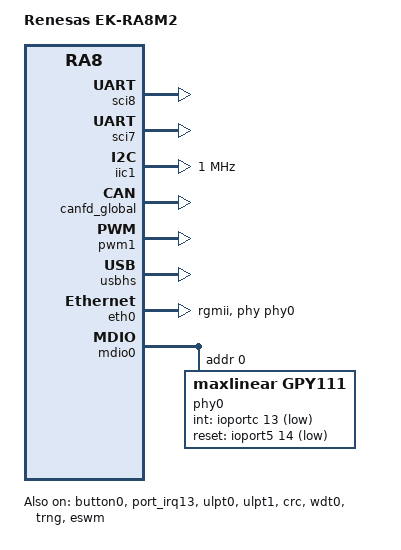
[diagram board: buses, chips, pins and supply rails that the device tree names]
/*
 * Copyright (c) 2025 Renesas Electronics Corporation
 * SPDX-License-Identifier: Apache-2.0
 */

/dts-v1/;

#include <renesas/ra/ra8/r7ka8m2jflcac_cm85.dtsi>
#include "ek_ra8m2.dtsi"

/ {
	model = "Renesas EK-RA8M2";
	compatible = "renesas,ra8m2", "renesas,ra8";

	chosen {
		zephyr,sram = &sram0;
		zephyr,flash = &code_mram_cm85;
		zephyr,flash-controller = &mram_ctrl;
		zephyr,code-partition = &slot0_partition;
		zephyr,console = &uart8;
		zephyr,shell-uart = &uart8;
		zephyr,canbus = &canfd1;
		zephyr,crc = &crc;
		zephyr,entropy = &trng;
	};

	aliases {
		led0 = &led1;
		sw0 = &button0;
		watchdog0 = &wdt0;
	};
};

&button0 {
	status = "okay";
};

&sci8 {
	pinctrl-0 = <&sci8_default>;
	pinctrl-names = "default";
	interrupts = <0 1>, <1 1>, <2 1>, <3 1>;
	interrupt-names = "rxi", "txi", "tei", "eri";
	status = "okay";

	uart8: uart {
		current-speed = <115200>;
		status = "okay";
	};
};

&sci7 {
	pinctrl-0 = <&sci7_default>;
	pinctrl-names = "default";
	interrupts = <4 1>, <5 1>, <6 1>, <7 1>;
	interrupt-names = "rxi", "txi", "tei", "eri";
	status = "okay";

	uart7: uart {
		current-speed = <115200>;
	};
};

&spi1 {
	pinctrl-0 = <&spi1_default>;
	pinctrl-names = "default";
	interrupts = <8 1>, <9 1>, <10 1>, <11 1>;
	interrupt-names = "rxi", "txi", "tei", "eri";
};

&iic1 {
	#address-cells = <1>;
	#size-cells = <0>;
	clock-frequency = <I2C_BITRATE_FAST_PLUS>;
	pinctrl-0 = <&iic1_default>;
	pinctrl-names = "default";
	interrupts = <12 1>, <13 1>, <14 1>, <15 1>;
	interrupt-names = "rxi", "txi", "tei", "eri";
};

&canfd_global {
	interrupts = <16 1>, <17 1>;
	interrupt-names = "rxf", "glerr";
	status = "okay";

	canfd1 {
		pinctrl-0 = <&canfd1_default>;
		pinctrl-names = "default";
		interrupts = <18 1>, <19 1>, <20 11>;
		interrupt-names = "err", "tx", "rx";
		phys = <&transceiver0>;
		rx-max-filters = <16>;
		status = "okay";
	};
};

&pwm1 {
	pinctrl-0 = <&pwm1_default>;
	interrupts = <23 1>, <24 1>;
	interrupt-names = "gtioca", "overflow";
	pinctrl-names = "default";
	status = "okay";
};

&port_irq13 {
	interrupts = <26 1>;
	status = "okay";
};

&ulpt0 {
	interrupts = <27 1>;
	interrupt-names = "ulpti";
	status = "okay";

	timer {
		status = "okay";
	};
};

&ulpt1 {
	status = "okay";

	timer {
		status = "okay";
	};
};

&crc {
	status = "okay";
};

&wdt0 {
	status = "okay";
};

&trng {
	status = "okay";
};

&usbhs {
	pinctrl-0 = <&usbhs_default>;
	interrupts = <28 1>;
	interrupt-names = "usbhs-ir";
	status = "okay";

	zephyr_udc0: udc {
		status = "okay";
	};
};

&code_mram_cm85 {
	partitions {
		ranges;
		#address-cells = <1>;
		#size-cells = <1>;

		boot_partition: partition@0 {
			compatible = "zephyr,mapped-partition";
			label = "mcuboot";
			reg = <0x0 DT_SIZE_K(64)>;
		};

		slot0_partition: partition@10000 {
			compatible = "zephyr,mapped-partition";
			label = "image-0";
			reg = <0x10000 DT_SIZE_K(344)>;
		};

		slot1_partition: partition@66000 {
			compatible = "zephyr,mapped-partition";
			label = "image-1";
			reg = <0x66000 DT_SIZE_K(344)>;
		};

		storage_partition: partition@bc000 {
			compatible = "zephyr,mapped-partition";
			label = "storage";
			reg = <0xbc000 DT_SIZE_K(16)>;
		};
	};
};

mikrobus_serial: &uart7 {};

mikrobus_spi: &spi1 {};

&eswm {
	interrupts = <29 1>;
	interrupt-names = "gwdi";
	status = "okay";
};

&eth0 {
	phy-connection-type = "rgmii";
	local-mac-address = [74 90 50 01 02 05];
	phy-clock-type = "xtal";
	phy-handle = <&phy0>;
	pinctrl-0 = <&eth0_default>;
	pinctrl-names = "default";
	status = "okay";
};

&mdio0 {
	pinctrl-0 = <&mdio0_default>;
	pinctrl-names = "default";
	mdio-hold-time-ns = <4>;
	mdio-capture-time-ns = <4>;
	status = "okay";

	phy0: phy@0 {
		compatible = "maxlinear,gpy111";
		maxlinear,interface-type = "rgmii";
		maxlinear,rx-internal-delay = "1.5";
		reg = <0>;
		int-gpios = <&ioportc 13 GPIO_ACTIVE_LOW>;
		reset-gpios = <&ioport5 14 GPIO_ACTIVE_LOW>;
		status = "okay";
	};
};
